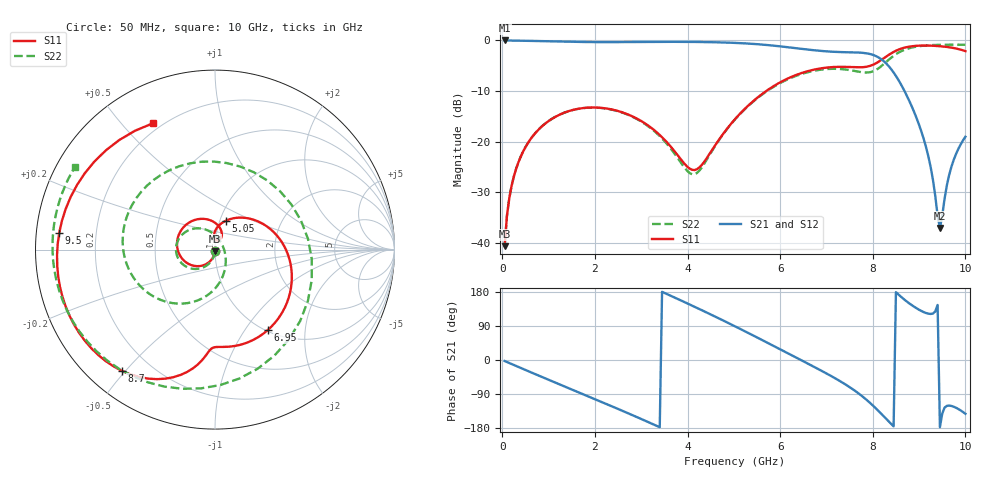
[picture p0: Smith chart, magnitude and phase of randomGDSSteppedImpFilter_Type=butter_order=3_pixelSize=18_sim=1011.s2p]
! freq	dB(S11)	phase(S11)	dB(S12)	phase(S12)
!  dB(S21)	phase(S21)	dB(S22)	phase(S22)
!S-par simulation data
#  GHz  S  DB  R 50
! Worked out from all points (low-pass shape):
!   200 points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, 50 MHz to 10 GHz, reference 50 ohm
!   highest |S21| = -0.01 dB at 50 MHz (marker M1); lowest = -37.0 dB at 9.45 GHz (marker M2)
!   |S21| within 3 dB of the highest: start of sweep to 8.047 GHz
!   lowest |S11| = -40.6 dB at 50 MHz (marker M3), VSWR 1.02, Z = 50 - j0.931 ohm
!   |S11| at or under -10 dB: start of sweep to 5.697 GHz
!   |S22| runs from -40.6 to -0.8 dB; largest |S21 - S12| = 0
!   S11 on the Smith chart (normalised r, x): 50 MHz: 1.00, -0.02; 5.05 GHz: 1.07, +0.35; 6.95 GHz: 1.02, -1.28; 8.7 GHz: 0.10, -0.49; 9.5 GHz: 0.07, +0.05; 10 GHz: 0.17, +0.61
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0.05  -40.61 -92.3  -0.01 -2.7  -0.01 -2.7  -40.60 -91.7
0.2  -28.73 -101.6  -0.02 -10.6  -0.02 -10.6  -28.72 -99.6
0.5  -21.07 -119.3  -0.07 -26.3  -0.07 -26.3  -21.06 -114.3
1.15  -15.05 -156.6  -0.21 -59.9  -0.21 -59.9  -15.05 -144.8
1.75  -13.34 169.2  -0.31 -90.6  -0.31 -90.6  -13.35 -171.9
2.5  -13.93 125.5  -0.33 -129.2  -0.33 -129.2  -13.98 154.8
3.4  -18.66 74.2  -0.28 -177.4  -0.28 -177.4  -18.89 110.3
4.15  -25.58 78.3  -0.30 140.5  -0.30 140.5  -26.41 17.4
5.05  -15.28 69.3  -0.49 87.4  -0.49 87.4  -15.34 -78.5
5.95  -8.53 6.4  -1.12 31.4  -1.12 31.4  -8.67 -125.4
6.7  -5.83 -42.3  -1.91 -16.0  -1.91 -16.0  -6.05 -170.4
6.95  -5.42 -56.6  -2.12 -32.2  -2.12 -32.2  -5.70 171.8
7.4  -5.22 -78.5  -2.32 -63.7  -2.32 -63.7  -5.73 131.3
7.8  -5.27 -90.7  -2.47 -98.3  -2.47 -98.3  -6.31 73.2
8.1  -4.35 -95.8  -3.23 -131.7  -3.23 -131.7  -5.65 6.5
8.35  -2.82 -105.2  -5.14 -162.9  -5.14 -162.9  -3.76 -50.6
8.7  -1.39 -127.7  -10.25 157.6  -10.25 157.6  -1.79 -110.2
9.15  -1.01 -159.2  -21.06 124.0  -21.06 124.0  -1.00 -157.6
9.45  -1.14 178.0  -37.03 -177.2  -37.03 -177.2  -0.87 -179.6
9.5  -1.18 173.8  -34.59 -141.5  -34.59 -141.5  -0.86 177.2
9.7  -1.42 154.9  -24.88 -121.3  -24.88 -121.3  -0.84 165.2
10  -2.11 116.1  -19.01 -141.9  -19.01 -141.9  -0.86 149.3
